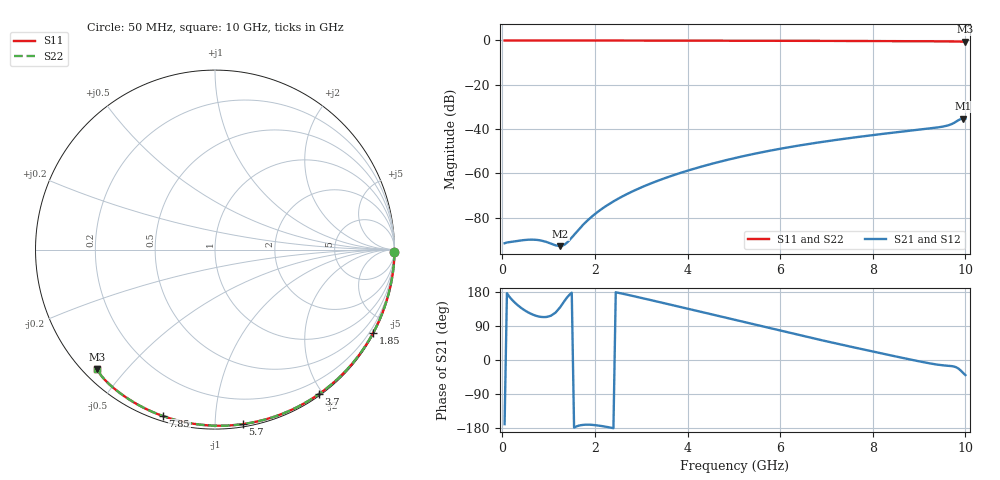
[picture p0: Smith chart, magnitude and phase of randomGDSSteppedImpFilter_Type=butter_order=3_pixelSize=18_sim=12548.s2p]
! freq	dB(S11)	phase(S11)	dB(S12)	phase(S12)
!  dB(S21)	phase(S21)	dB(S22)	phase(S22)
!S-par simulation data
#  GHz  S  DB  R 50
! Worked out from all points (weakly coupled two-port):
!   200 points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, 50 MHz to 10 GHz, reference 50 ohm
!   highest |S21| = -35.22 dB at 9.95 GHz (marker M1); lowest = -92.8 dB at 1.25 GHz (marker M2)
!   lowest |S11| = -0.6 dB at 10 GHz (marker M3), VSWR 29.13, Z = 2.02 - j20.9 ohm
!   |S11| at or under -10 dB: nowhere
!   |S22| runs from -0.6 to 0.0 dB; largest |S21 - S12| = 0
!   S11 on the Smith chart (normalised r, x): 50 MHz: open; 1.85 GHz: 0.04, -4.04; 3.7 GHz: 0.02, -1.95; 5.7 GHz: 0.02, -1.17; 7.85 GHz: 0.02, -0.73; 10 GHz: 0.04, -0.42
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0.05  -0.00 -0.8  -91.50 -169.3  -91.50 -169.3  -0.00 -0.8
0.65  -0.01 -9.9  -89.86 120.3  -89.86 120.3  -0.01 -9.9
1.25  -0.02 -18.9  -92.81 139.3  -92.81 139.3  -0.02 -18.9
1.75  -0.03 -26.3  -83.04 -171.1  -83.04 -171.1  -0.03 -26.3
1.85  -0.04 -27.8  -81.02 -170.6  -81.02 -170.6  -0.04 -27.8
1.9  -0.04 -28.5  -80.08 -170.8  -80.08 -170.8  -0.04 -28.5
2.25  -0.04 -33.6  -74.56 -176.4  -74.56 -176.4  -0.04 -33.6
2.55  -0.05 -38.0  -70.84 176.2  -70.84 176.2  -0.05 -38.0
2.95  -0.06 -43.7  -66.76 165.3  -66.76 165.3  -0.06 -43.7
3.4  -0.07 -50.1  -62.97 152.6  -62.97 152.6  -0.07 -50.1
3.7  -0.07 -54.3  -60.76 144.1  -60.76 144.1  -0.07 -54.3
4.35  -0.09 -63.2  -56.63 125.4  -56.63 125.4  -0.09 -63.2
5.05  -0.11 -72.5  -52.93 105.1  -52.93 105.1  -0.11 -72.5
5.7  -0.13 -80.9  -50.05 86.2  -50.05 86.2  -0.13 -80.9
6.7  -0.18 -93.5  -46.43 57.7  -46.43 57.7  -0.18 -93.5
7.85  -0.25 -107.4  -43.10 26.4  -43.10 26.4  -0.25 -107.4
8.35  -0.29 -113.3  -41.81 13.2  -41.81 13.2  -0.29 -113.3
9.55  -0.41 -127.8  -38.71 -14.5  -38.71 -14.5  -0.41 -127.8
9.7  -0.43 -129.8  -37.76 -16.1  -37.76 -16.1  -0.43 -129.8
9.9  -0.51 -132.8  -35.45 -27.9  -35.45 -27.9  -0.51 -132.8
9.95  -0.54 -133.7  -35.22 -34.1  -35.22 -34.1  -0.54 -133.7
10  -0.60 -134.6  -35.28 -39.8  -35.28 -39.8  -0.60 -134.6
